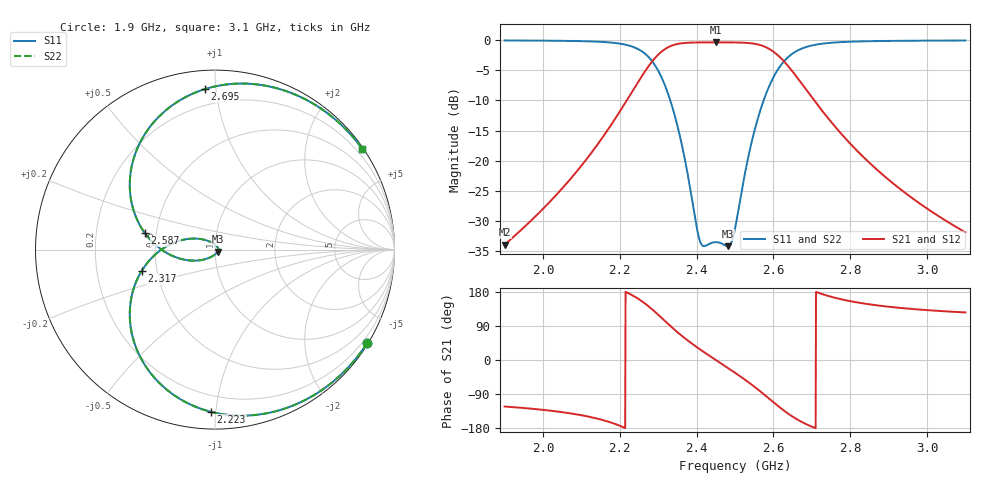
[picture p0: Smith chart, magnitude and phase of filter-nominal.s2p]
! SYNTHETIC: ideal lumped LC ladder; not VNA measurements
! nominal; center=2.450 GHz
! Frequency S11.re S11.im S21.re S21.im S12.re S12.im S22.re S22.im
# GHz S RI R 50
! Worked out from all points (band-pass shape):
!   1201 points, 1.9 GHz to 3.1 GHz, reference 50 ohm
!   highest |S21| = -0.36 dB at 2.45 GHz (marker M1); lowest = -33.9 dB at 1.9 GHz (marker M2)
!   |S21| within 3 dB of the highest: 2.286 GHz to 2.625 GHz (339.1 MHz wide, 13.8 % of centre)
!   lowest |S11| = -34.2 dB at 2.481 GHz (marker M3), VSWR 1.04, Z = 51.6 - j1.2 ohm
!   |S11| at or under -10 dB: 2.331 GHz to 2.575 GHz (243 MHz wide, 9.91 % of centre)
!   |S22| runs from -34.2 to 0.0 dB; largest |S21 - S12| = 0
!   S11 on the Smith chart (normalised r, x): 1.9 GHz: 0.03, -3.53; 2.223 GHz: 0.10, -0.97; 2.317 GHz: 0.41, -0.12; 2.587 GHz: 0.43, +0.09; 2.695 GHz: 0.10, +0.93; 3.1 GHz: 0.03, +3.24
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1.9  0.8472 -0.5218  -0.0109 -0.0169  -0.0109 -0.0169  0.8472 -0.5218
2.1  0.5782 -0.7939  -0.0751 -0.0512  -0.0751 -0.0512  0.5782 -0.7939
2.167  0.3351 -0.9014  -0.1681 -0.0553  -0.1681 -0.0553  0.3351 -0.9014
2.223  -0.0228 -0.9038  -0.3349 0.0236  -0.3349 0.0236  -0.0228 -0.9038
2.27  -0.3923 -0.6408  -0.4773 0.3267  -0.4773 0.3267  -0.3923 -0.6408
2.3  -0.4712 -0.3001  -0.3737 0.6604  -0.3737 0.6604  -0.4712 -0.3001
2.317  -0.4093 -0.1199  -0.1962 0.8179  -0.1962 0.8179  -0.4093 -0.1199
2.356  -0.1517 0.0593  0.3466 0.8709  0.3466 0.8709  -0.1517 0.0593
2.408  0.00798 0.0204  0.8409 0.4591  0.8409 0.4591  0.00798 0.0204
2.45  0.0211 -1.07e-15  0.9591 1.07e-15  0.9591 1.07e-15  0.0211 -1.07e-15
2.481  0.0157 -0.0116  0.8967 -0.339  0.8967 -0.339  0.0157 -0.0116
2.5  0.000151 -0.0272  0.7975 -0.5299  0.7975 -0.5299  0.000151 -0.0272
2.549  -0.1585 -0.0583  0.3313 -0.8754  0.3313 -0.8754  -0.1585 -0.0583
2.587  -0.3905 0.0915  -0.1544 -0.8399  -0.1544 -0.8399  -0.3905 0.0915
2.61  -0.4714 0.3023  -0.3752 -0.6583  -0.3752 -0.6583  -0.4714 0.3023
2.632  -0.4461 0.5292  -0.47 -0.4398  -0.47 -0.4398  -0.4461 0.5292
2.663  -0.2775 0.7731  -0.4475 -0.1859  -0.4475 -0.1859  -0.2775 0.7731
2.695  -0.0569 0.8941  -0.3512 -0.0385  -0.3512 -0.0385  -0.0569 0.8941
2.7  -0.024 0.9035  -0.3354 -0.024  -0.3354 -0.024  -0.024 0.9035
2.786  0.3927 0.8843  -0.1439 0.0577  -0.1439 0.0577  0.3927 0.8843
2.9  0.6481 0.7434  -0.0537 0.0442  -0.0537 0.0442  0.6481 0.7434
3.1  0.8211 0.5603  -0.0148 0.0207  -0.0148 0.0207  0.8211 0.5603
